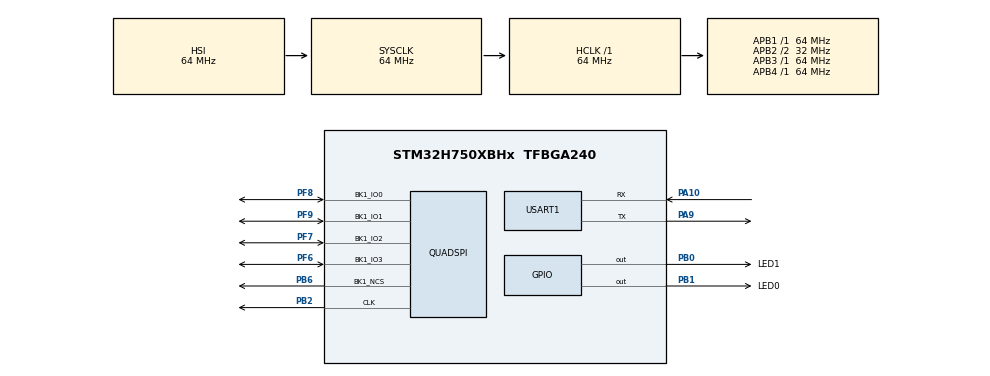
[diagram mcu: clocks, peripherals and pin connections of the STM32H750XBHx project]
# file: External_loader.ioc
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CORTEX_M7.default_mode_Activation=1
Mcu.Family=STM32H7
Mcu.Name=STM32H750XBHx
Mcu.Package=TFBGA240
NVIC.PriorityGroup=NVIC_PRIORITYGROUP_4
PA10.Mode=Asynchronous
PA10.Signal=USART1_RX
PA9.Mode=Asynchronous
PA9.Signal=USART1_TX
PB0.GPIO_Label=LED1
PB0.GPIO_Speed=GPIO_SPEED_FREQ_VERY_HIGH
PB0.PinState=GPIO_PIN_SET
PB0.Signal=GPIO_Output
PB1.GPIO_Label=LED0
PB1.GPIO_Speed=GPIO_SPEED_FREQ_VERY_HIGH
PB1.PinState=GPIO_PIN_SET
PB1.Signal=GPIO_Output
PB2.GPIO_PuPd=GPIO_PULLUP
PB2.GPIO_Speed=GPIO_SPEED_FREQ_VERY_HIGH
PB2.Mode=Single Bank 1
PB2.Signal=QUADSPI_CLK
PB6.GPIO_FM6=__NULL
PB6.GPIO_PuPd=GPIO_PULLUP
PB6.GPIO_Speed=GPIO_SPEED_FREQ_VERY_HIGH
PB6.Mode=Single Bank 1
PB6.Signal=QUADSPI_BK1_NCS
PF6.GPIO_PuPd=GPIO_PULLUP
PF6.GPIO_Speed=GPIO_SPEED_FREQ_VERY_HIGH
PF6.Mode=Single Bank 1
PF6.Signal=QUADSPI_BK1_IO3
PF7.GPIO_PuPd=GPIO_PULLUP
PF7.GPIO_Speed=GPIO_SPEED_FREQ_VERY_HIGH
PF7.Mode=Single Bank 1
PF7.Signal=QUADSPI_BK1_IO2
PF8.GPIO_PuPd=GPIO_PULLUP
PF8.GPIO_Speed=GPIO_SPEED_FREQ_VERY_HIGH
PF8.Mode=Single Bank 1
PF8.Signal=QUADSPI_BK1_IO0
PF9.GPIO_PuPd=GPIO_PULLUP
PF9.GPIO_Speed=GPIO_SPEED_FREQ_VERY_HIGH
PF9.Mode=Single Bank 1
PF9.Signal=QUADSPI_BK1_IO1
ProjectManager.HeapSize=0x200
ProjectManager.StackSize=0x400
ProjectManager.TargetToolchain=STM32CubeIDE
QUADSPI.ChipSelectHighTime=QSPI_CS_HIGH_TIME_1_CYCLE
QUADSPI.ClockPrescaler=0
QUADSPI.FifoThreshold=4
QUADSPI.FlashSize=22
QUADSPI.SampleShifting=QSPI_SAMPLE_SHIFTING_NONE
RCC.ADCFreq_Value=129000000
RCC.APB1Freq_Value=64000000
RCC.APB2Freq_Value=32000000
RCC.APB3Freq_Value=64000000
RCC.APB4Freq_Value=64000000
RCC.CortexFreq_Value=64000000
RCC.D2PPRE2=RCC_APB2_DIV2
RCC.HCLKFreq_Value=64000000
RCC.SYSCLKFreq_VALUE=64000000
RCC.USBFreq_Value=129000000
USART1.VirtualMode-Asynchronous=VM_ASYNC
VP_MEMORYMAP_VS_MEMORYMAP.Mode=CurAppReg
board=custom

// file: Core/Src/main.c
/* USER CODE BEGIN Header */
/**
  ******************************************************************************
  * @file           : main.c
  * @brief          : Main program body
  ******************************************************************************
  * @attention
  *
  * Copyright (c) 2026 STMicroelectronics.
  * All rights reserved.
  *
  * This software is licensed under terms that can be found in the LICENSE file
  * in the root directory of this software component.
  * If no LICENSE file comes with this software, it is provided AS-IS.
  *
  ******************************************************************************
  */
/* USER CODE END Header */
#include "main.h"
#include "quadspi.h"
#include "usart.h"
#include "gpio.h"

/* USER CODE BEGIN Includes */
#include <stdio.h>
/* USER CODE END Includes */

void SystemClock_Config(void);
static void MPU_Config(void);

/* USER CODE BEGIN 0 */
#if 0
#include <stdio.h>
#include <string.h>

/* 引入 QSPI 實例，CubeMX 生成的通常叫 hqspi */
extern QSPI_HandleTypeDef hqspi;

/* W25Q32 常用指令定義 */
#define W25Q_CMD_JEDEC_ID         0x9F
#define W25Q_CMD_WRITE_ENABLE     0x06
#define W25Q_CMD_READ_STATUS1     0x05
#define W25Q_CMD_SECTOR_ERASE     0x20
#define W25Q_CMD_PAGE_PROGRAM     0x02
#define W25Q_CMD_READ_DATA        0x03

/* --- 內部輔助函數：等待 Flash 就緒 --- */
static void W25Q_WaitReady(void)
{
    QSPI_CommandTypeDef sCommand = {0};
    QSPI_AutoPollingTypeDef sConfig = {0};

    sCommand.InstructionMode   = QSPI_INSTRUCTION_1_LINE;
    sCommand.Instruction       = W25Q_CMD_READ_STATUS1;
    sCommand.AddressMode       = QSPI_ADDRESS_NONE;
    sCommand.AlternateByteMode = QSPI_ALTERNATE_BYTES_NONE;
    sCommand.DataMode          = QSPI_DATA_1_LINE;
    sCommand.DummyCycles       = 0;
    sCommand.DdrMode           = QSPI_DDR_MODE_DISABLE;
    sCommand.DdrHoldHalfCycle  = QSPI_DDR_HHC_ANALOG_DELAY;
    sCommand.SIOOMode          = QSPI_SIOO_INST_EVERY_CMD;

    sConfig.Match           = 0x00;
    sConfig.Mask            = 0x01; /* WIP bit */
    sConfig.MatchMode       = QSPI_MATCH_MODE_AND;
    sConfig.StatusBytesSize = 1;
    sConfig.Interval        = 0x10;
    sConfig.AutomaticStop   = QSPI_AUTOMATIC_STOP_ENABLE;

    HAL_QSPI_AutoPolling(&hqspi, &sCommand, &sConfig, HAL_MAX_DELAY);
}

/* --- 內部輔助函數：啟用寫入 --- */
static void W25Q_WriteEnable(void)
{
    QSPI_CommandTypeDef sCommand = {0};

    sCommand.InstructionMode   = QSPI_INSTRUCTION_1_LINE;
    sCommand.Instruction       = W25Q_CMD_WRITE_ENABLE;
    sCommand.AddressMode       = QSPI_ADDRESS_NONE;
    sCommand.AlternateByteMode = QSPI_ALTERNATE_BYTES_NONE;
    sCommand.DataMode          = QSPI_DATA_NONE;
    sCommand.DummyCycles       = 0;
    sCommand.DdrMode           = QSPI_DDR_MODE_DISABLE;
    sCommand.DdrHoldHalfCycle  = QSPI_DDR_HHC_ANALOG_DELAY;
    sCommand.SIOOMode          = QSPI_SIOO_INST_EVERY_CMD;

    HAL_QSPI_Command(&hqspi, &sCommand, HAL_MAX_DELAY);
    W25Q_WaitReady(); /* 確保指令已被接受 */
}

/* --- 測試主程式 --- */
void W25Q_Test(void)
{
    QSPI_CommandTypeDef sCommand = {0};
    uint8_t id[3] = {0};
    uint8_t writeBuffer[256];
    uint8_t readBuffer[256];
    uint32_t testAddress = 0x00000000; /* 測試第 0 個 Sector */
    int i;

    printf("\r\n=== W25Q32 QSPI Test Start ===\r\n");

    /* 1. 讀取 JEDEC ID (驗證 SPI 通訊與硬體接線) */
    sCommand.InstructionMode   = QSPI_INSTRUCTION_1_LINE;
    sCommand.Instruction       = W25Q_CMD_JEDEC_ID;
    sCommand.AddressMode       = QSPI_ADDRESS_NONE;
    sCommand.AlternateByteMode = QSPI_ALTERNATE_BYTES_NONE;
    sCommand.DataMode          = QSPI_DATA_1_LINE;
    sCommand.DummyCycles       = 0;
    sCommand.NbData            = 3;
    sCommand.DdrMode           = QSPI_DDR_MODE_DISABLE;
    sCommand.DdrHoldHalfCycle  = QSPI_DDR_HHC_ANALOG_DELAY;
    sCommand.SIOOMode          = QSPI_SIOO_INST_EVERY_CMD;

    if (HAL_QSPI_Command(&hqspi, &sCommand, HAL_MAX_DELAY) == HAL_OK) {
        HAL_QSPI_Receive(&hqspi, id, HAL_MAX_DELAY);
        printf("1. Read ID: 0x%02X 0x%02X 0x%02X\r\n", id[0], id[1], id[2]);
        if (id[0] != 0xEF || id[1] != 0x40 || id[2] != 0x17) {
            printf("[ERROR] ID Mismatch! Check wiring or CubeMX QSPI settings.\r\n");
            return;
        }
    } else {
        printf("[ERROR] QSPI Command Failed!\r\n");
        return;
    }

    /* 2. 擦除測試 Sector (4KB) */
    printf("2. Erasing Sector 0...\r\n");
    W25Q_WriteEnable();
    sCommand.Instruction       = W25Q_CMD_SECTOR_ERASE;
    sCommand.AddressMode       = QSPI_ADDRESS_1_LINE;
    sCommand.AddressSize       = QSPI_ADDRESS_24_BITS;
    sCommand.Address           = testAddress;
    sCommand.DataMode          = QSPI_DATA_NONE;
    sCommand.NbData            = 0;
    HAL_QSPI_Command(&hqspi, &sCommand, HAL_MAX_DELAY);
    W25Q_WaitReady(); /* 擦除需要一點時間，這裡會卡住等它完成 */

    /* 3. 準備測試資料並寫入一頁 (256 Bytes) */
    printf("3. Writing 256 bytes to Page 0...\r\n");
    for (i = 0; i < 256; i++) {
        writeBuffer[i] = i; /* 寫入 0x00 ~ 0xFF */
    }

    W25Q_WriteEnable();
    sCommand.Instruction       = W25Q_CMD_PAGE_PROGRAM;
    sCommand.AddressMode       = QSPI_ADDRESS_1_LINE;
    sCommand.Address           = testAddress;
    sCommand.DataMode          = QSPI_DATA_1_LINE;
    sCommand.NbData            = 256;
    HAL_QSPI_Command(&hqspi, &sCommand, HAL_MAX_DELAY);
    HAL_QSPI_Transmit(&hqspi, writeBuffer, HAL_MAX_DELAY);
    W25Q_WaitReady();

    /* 4. 讀出資料並比對 */
    printf("4. Reading back data and verifying...\r\n");
    memset(readBuffer, 0, sizeof(readBuffer)); /* 清空讀取陣列 */

    sCommand.Instruction       = W25Q_CMD_READ_DATA;
    sCommand.AddressMode       = QSPI_ADDRESS_1_LINE;
    sCommand.Address           = testAddress;
    sCommand.DataMode          = QSPI_DATA_1_LINE;
    sCommand.NbData            = 256;
    HAL_QSPI_Command(&hqspi, &sCommand, HAL_MAX_DELAY);
    HAL_QSPI_Receive(&hqspi, readBuffer, HAL_MAX_DELAY);

    /* 比對陣列內容 */
    int errorCount = 0;
    for (i = 0; i < 256; i++) {
        if (writeBuffer[i] != readBuffer[i]) {
            errorCount++;
            if (errorCount <= 5) { /* 只印前幾個錯誤以免洗頻 */
                printf("   [FAIL] Byte %d: Wrote 0x%02X, Read 0x%02X\r\n", i, writeBuffer[i], readBuffer[i]);
            }
        }
    }

    if (errorCount == 0) {
        printf("=> [SUCCESS] All 256 bytes matched perfectly!\r\n");
        printf("=> Your hardware and basic QSPI driver are READY for the Loader.\r\n");
    } else {
        printf("=> [FAILED] Total %d bytes mismatch.\r\n", errorCount);
    }

    printf("=== Test End ===\r\n\r\n");
}
#endif

#if 0
int Safe_EnableMemoryMappedMode(void) {
    QSPI_CommandTypeDef sCommand = {0};
    QSPI_MemoryMappedTypeDef sMemMappedCfg = {0};

    sCommand.InstructionMode = QSPI_INSTRUCTION_1_LINE;
    sCommand.Instruction = 0x6B; /* W25Q64 Fast Read Quad Output */
    sCommand.AddressMode = QSPI_ADDRESS_1_LINE;
    sCommand.AddressSize = QSPI_ADDRESS_24_BITS;
    sCommand.AlternateByteMode = QSPI_ALTERNATE_BYTES_NONE;
    sCommand.DataMode = QSPI_DATA_4_LINES;
    sCommand.DummyCycles = 8; /* 絕對必須是 8 */
    sCommand.DdrMode = QSPI_DDR_MODE_DISABLE;
    sCommand.DdrHoldHalfCycle = QSPI_DDR_HHC_ANALOG_DELAY;
    sCommand.SIOOMode = QSPI_SIOO_INST_EVERY_CMD;

    sMemMappedCfg.TimeOutActivation = QSPI_TIMEOUT_COUNTER_DISABLE;

    if (HAL_QSPI_MemoryMapped(&hqspi, &sCommand, &sMemMappedCfg) != HAL_OK) {
        return HAL_ERROR;
    }
    return HAL_OK;
}

uint8_t write_buffer[256];

/* 3. 測試主程式 */
void Run_QSPI_App_Test(void) {
    uint32_t test_address = 0x00000000;
    uint32_t sector_end   = 0x00000FFF;
    uint32_t error_count  = 0;

    printf("\r\n========================================\r\n");
    printf("[QSPI TEST] Polaris SNOR Flash Test Start!\r\n");
    printf("========================================\r\n");

    printf("[1/5] Initializing QSPI and W25Q64... ");
    if (CSP_QUADSPI_Init() != HAL_OK) {
        printf("[FAIL]\r\n");
        return;
    }
    printf("[OK]\r\n");

    printf("[2/5] Erasing Sector 0... ");
    if (CSP_QSPI_EraseSector(test_address, sector_end) != HAL_OK) {
        printf("[FAIL]\r\n");
        return;
    }
    printf("[OK]\r\n");

    printf("[3/5] Writing 256 bytes to Page 0... ");
    for (int i = 0; i < 256; i++) {
        write_buffer[i] = (uint8_t)(i & 0xFF);
    }

    if (CSP_QSPI_WriteMemory(write_buffer, test_address, 256) != HAL_OK) {
        printf("[FAIL]\r\n");
        return;
    }
    printf("[OK]\r\n");

    /* 🌟 解鎖 MPU */
    //MPU_Config_QSPI();

    printf("[4/5] Enabling Memory Mapped Mode... ");
    if (Safe_EnableMemoryMappedMode() != HAL_OK) {
        printf("[FAIL]\r\n");
        return;
    }
    printf("[OK]\r\n");

    /* 加入一點延遲，確保 printf 送出 UART 緩衝區 */
    HAL_Delay(10);

    printf("[5/5] Verifying data via memory map (0x90000000)... \r\n");
    uint8_t *mapped_flash_ptr = (uint8_t *)(0x90000000 + test_address);

    for (int i = 0; i < 256; i++) {
        if (mapped_flash_ptr[i] != write_buffer[i]) {
            if (error_count < 5) {
                printf("      [FAIL] Mismatch at offset %d: Wrote 0x%02X, Read 0x%02X\r\n",
                       i, write_buffer[i], mapped_flash_ptr[i]);
            }
            error_count++;
        }
    }

    if (error_count > 0) {
        printf("[FAIL] VERIFY FAILED! Total errors: %lu / 256\r\n", error_count);
    } else {
        printf("[DONE] ALL PASSED! The QSPI driver is 100%% PERFECT!\r\n");
    }

    printf("========================================\r\n\r\n");
}
#endif

#if 0
extern QSPI_HandleTypeDef hqspi;
uint8_t test_write_buffer[256];

/* * 模擬 Loader 行為的完整驗證測試
 */
void Polaris_Loader_Standalone_Test(void)
{
    uint32_t test_address = 0x00000000;
    uint32_t sector_end   = 0x00000FFF;
    uint32_t error_count  = 0;
    int i;

    printf("\r\n==============================================\r\n");
    printf("[POLARIS QSPI TEST] Standalone Verification\r\n");
    printf("==============================================\r\n");

    /* 1. 測試初始化 (Init) */
    printf("[1/5] CSP_QUADSPI_Init()... ");
    if (CSP_QUADSPI_Init() != HAL_OK) {
        printf("[FAIL] Hardware or SPI communication error.\r\n");
        return;
    }
    printf("[OK]\r\n");

    /* 2. 測試擦除 (SectorErase) */
    printf("[2/5] CSP_QSPI_EraseSector()... ");
    /* 這裡如果卡死或瞬間失敗，就是硬體供電或 WIP Polling 的問題 */
    if (CSP_QSPI_EraseSector(test_address, sector_end) != HAL_OK) {
        printf("[FAIL] Erase command rejected or timeout.\r\n");
        return;
    }
    printf("[OK]\r\n");

    /* 3. 準備測資並測試寫入 (Write) */
    printf("[3/5] CSP_QSPI_WriteMemory()... ");
    for (i = 0; i < 256; i++) {
        test_write_buffer[i] = (uint8_t)(i & 0xFF); // 0x00 ~ 0xFF
    }
    if (CSP_QSPI_WriteMemory(test_write_buffer, test_address, 256) != HAL_OK) {
        printf("[FAIL] Write command rejected.\r\n");
        return;
    }
    printf("[OK]\r\n");

    /* 4. 測試切換至記憶體映射模式 (EnableMemoryMappedMode) */
    printf("[4/5] CSP_QSPI_EnableMemoryMappedMode()... ");
    if (CSP_QSPI_EnableMemoryMappedMode() != HAL_OK) {
        printf("[FAIL] Failed to enter QSPI 4-line mapped mode.\r\n");
        return;
    }
    printf("[OK]\r\n");

    /* 5. 透過 AHB 匯流排直接讀取驗證 (Verify) */
    printf("[5/5] Verifying Memory via AHB (0x90000000)... \r\n");

    /* 使用 volatile 確保每次都從真實物理位址讀取，不受編譯器最佳化影響 */
    volatile uint8_t *mapped_flash_ptr = (volatile uint8_t *)(0x90000000 + test_address);

    /* 為了避免 UART 卡死，我們先延遲一下讓前面的 printf 送完 */
    HAL_Delay(10);

    for (i = 0; i < 256; i++) {
        uint8_t read_val = mapped_flash_ptr[i];
        if (read_val != test_write_buffer[i]) {
            if (error_count < 5) {
                printf("      [FAIL] Offset %d: Wrote 0x%02X, Read 0x%02X\r\n",
                       i, test_write_buffer[i], read_val);
            }
            error_count++;
        }
    }

    if (error_count > 0) {
        printf("=> [FAIL] Data verification failed! Total errors: %lu / 256\r\n", error_count);
        printf("=> Possible cause: Dummy cycles mismatch, IO2/IO3 wiring, or Cache issue.\r\n");
    } else {
        printf("=> [SUCCESS] All 256 bytes verified perfectly!\r\n");
        printf("=> The quadspi.c driver is 100%% ready for the Loader.\r\n");
    }

    printf("==============================================\r\n\r\n");
}
#endif

#if 0
/* External Loader and QSPI API declarations */
extern int Init(void);
extern int SectorErase(uint32_t EraseStartAddress, uint32_t EraseEndAddress);
extern int Write(uint32_t Address, uint32_t Size, uint8_t *buffer);
extern uint8_t CSP_QSPI_EnableMemoryMappedMode(void);

#define FLASH_SIZE_8MB 0x00800000  /* 8MB = 8 * 1024 * 1024 */
#define CHUNK_SIZE     4096        /* 4KB chunk size */

uint8_t chunk_buffer[CHUNK_SIZE];

void Test_Loader_API_8MB_Full(void)
{
    uint32_t offset;
    int i;
    uint32_t error_count = 0;

    printf("\r\n=== 8MB Full QSPI Flash Stress Test ===\r\n");

    /* 1. Init phase */
    printf("[1/4] Init()... ");
    fflush(stdout);
    if (Init() != 1) {
        printf("FAIL\r\n");
        return;
    }
    printf("OK\r\n");

    /* 2. Erase the entire 8MB */
    printf("[2/4] Erasing full 8MB...\r\n");
    printf("      (This will take ~20-40 seconds, please wait)\r\n");
    fflush(stdout);

    if (SectorErase(0x00000000, FLASH_SIZE_8MB - 1) != 1) {
        printf("=> [FAIL] Erase Error!\r\n");
        return;
    }
    printf("      => Erase 8MB OK!\r\n");

    /* 3. Write 8MB */
    printf("[3/4] Writing 8MB Data...\r\n");
    fflush(stdout);

    for (offset = 0; offset < FLASH_SIZE_8MB; offset += CHUNK_SIZE) {
        /* Generate address-dependent test data to detect address mirroring issues */
        for (i = 0; i < CHUNK_SIZE; i++) {
            chunk_buffer[i] = (uint8_t)((offset + i) & 0xFF);
        }

        if (Write(offset, CHUNK_SIZE, chunk_buffer) != 1) {
            printf("\r\n=> [FAIL] Write Error at offset 0x%08lX\r\n", offset);
            return;
        }

        /* Print progress every 1MB */
        if (offset > 0 && (offset % (1024 * 1024)) == 0) {
            printf("      ... %lu MB written\r\n", offset / (1024 * 1024));
            fflush(stdout);
        }
    }
    printf("      => Write 8MB OK!\r\n");

    /* 4. Verify 8MB using Memory Mapped Mode */
    printf("[4/4] Verifying 8MB via AHB (0x90000000)...\r\n");
    fflush(stdout);

    /* Enable Memory Mapped Mode */
    if (CSP_QSPI_EnableMemoryMappedMode() != HAL_OK) {
        printf("=> [FAIL] Enable Memory Mapped Mode Error!\r\n");
        return;
    }

    HAL_Delay(10);

    volatile uint8_t *mapped_ptr = (volatile uint8_t *)0x90000000;

    for (offset = 0; offset < FLASH_SIZE_8MB; offset++) {
        uint8_t expected = (uint8_t)(offset & 0xFF);
        uint8_t read_val = mapped_ptr[offset];

        if (read_val != expected) {
            if (error_count < 10) { /* Print only the first 10 errors to avoid console flood */
                printf("      [FAIL] at 0x%08lX: expected 0x%02X, got 0x%02X\r\n",
                       offset, expected, read_val);
            }
            error_count++;
        }

        /* Print progress every 1MB */
        if (offset > 0 && (offset % (1024 * 1024)) == 0) {
            printf("      ... %lu MB verified\r\n", offset / (1024 * 1024));
            fflush(stdout);
        }
    }

    /* Summary */
    if (error_count > 0) {
        printf("\r\n=> [FAIL] Verify failed! Total errors: %lu bytes\r\n", error_count);
    } else {
        printf("\r\n=> [SUCCESS] 8MB perfectly completely verified!\r\n");
        printf("=> Congratulations! Your Polaris External Loader is 100%% READY!\r\n");
    }
    printf("=======================================================\r\n\r\n");
}
#endif

#if 0
#define TEST_FLASH_SIZE 0x00800000 /* 8MB */
#define CHUNK_SIZE      4096       /* 4KB */

uint8_t write_buf[CHUNK_SIZE];
uint8_t read_buf[CHUNK_SIZE];

void Test_Direct_ReadWrite_8MB(void)
{
    uint32_t offset;
    uint32_t error_count = 0;

    printf("\r\n=== Direct SPI Command Read/Write Test (8MB) ===\r\n");

    /* 1. 直接呼叫 QSPI 初始化 (繞過 Loader_Src.c 的 Init) */
    printf("[1/3] Resetting Chip... ");
    if (CSP_QUADSPI_Init() != HAL_OK) { printf("FAIL\r\n"); return; }
    printf("OK\r\n");

    /* 2. 擦除測試 (先測前 1MB 即可，省時間) */
    uint32_t test_limit = 1024 * 1024; /* 1MB test */
    printf("[2/3] Erasing & Writing %lu MB...\r\n", test_limit / (1024*1024));

    for (offset = 0; offset < test_limit; offset += CHUNK_SIZE) {
        /* Erase Sector */
        if (CSP_QSPI_EraseSector(offset, offset + CHUNK_SIZE - 1) != HAL_OK) {
            printf("      Erase FAIL at 0x%08lX\r\n", offset);
            return;
        }

        /* Prepare Data */
        for (int i = 0; i < CHUNK_SIZE; i++) {
            write_buf[i] = (uint8_t)((offset + i) & 0xFF);
        }

        /* Write Data */
        if (CSP_QSPI_WriteMemory(write_buf, offset, CHUNK_SIZE) != HAL_OK) {
            printf("      Write FAIL at 0x%08lX\r\n", offset);
            return;
        }

        if (offset > 0 && offset % (256 * 1024) == 0) printf("      ... %lu KB done\r\n", offset / 1024);
    }
    printf("      => Write OK!\r\n");

    /* 3. 直接指令讀取比對 */
    printf("[3/3] Direct Read (Instruction 0x03) & Verifying...\r\n");

    for (offset = 0; offset < test_limit; offset += CHUNK_SIZE) {
        if (CSP_QSPI_ReadMemory(read_buf, offset, CHUNK_SIZE) != HAL_OK) {
            printf("      Read FAIL at 0x%08lX\r\n", offset);
            return;
        }

        for (int i = 0; i < CHUNK_SIZE; i++) {
            uint8_t expected = (uint8_t)((offset + i) & 0xFF);
            if (read_buf[i] != expected) {
                if (error_count < 5) {
                    printf("      [Data Error] at 0x%08lX: Expected 0x%02X, Got 0x%02X\r\n",
                           offset + i, expected, read_buf[i]);
                }
                error_count++;
            }
        }
    }

    if (error_count == 0) {
        printf("=> [SUCCESS] Direct Command Read/Write PASSED!\r\n");
    } else {
        printf("=> [FAIL] Total Errors: %lu bytes\r\n", error_count);
    }
}

/* Define test parameters */
#define TEST_ADDR        0x00000000  /* Test starting at the beginning of Flash */
#define TEST_SIZE        4096        /* 4KB (Standard Sector size) */
#define TEST_PATTERN_XOR 0x5A        /* Pattern to make data unique */

/* Buffers for read/write operations */
uint8_t write_buffer[TEST_SIZE];
uint8_t read_buffer[TEST_SIZE];

/**
 * @brief  Rigorous 4KB Read/Write/Verify Test
 * @retval 1 if success, 0 if failure
 */
int Test_Flash_4KB_Sector(void)
{
    uint32_t i;
    uint32_t error_count = 0;

    printf("\r\n--- Starting 4KB Sector Stress Test ---\r\n");

    /* 1. Initialization */
    printf("[1/5] Initializing QSPI... ");
    if (CSP_QUADSPI_Init() != HAL_OK) {
        printf("FAILED\r\n");
        return 0;
    }
    printf("OK\r\n");

    /* 2. Erase Sector */
    printf("[2/5] Erasing 4KB Sector at 0x%08X... ", (unsigned int)TEST_ADDR);
    if (CSP_QSPI_EraseSector(TEST_ADDR, TEST_ADDR + TEST_SIZE - 1) != HAL_OK) {
        printf("FAILED\r\n");
        return 0;
    }
    printf("OK\r\n");

    /* 3. Prepare Buffer with Dynamic Pattern */
    /* We use (index ^ pattern) to ensure data is not just a simple sequence */
    for (i = 0; i < TEST_SIZE; i++) {
        write_buffer[i] = (uint8_t)((i & 0xFF) ^ TEST_PATTERN_XOR);
    }

    /* 4. Write Data (Involves 16 Pages for W25Q64) */
    printf("[3/5] Writing 4KB Data... ");
    if (CSP_QSPI_WriteMemory(write_buffer, TEST_ADDR, TEST_SIZE) != HAL_OK) {
        printf("FAILED\r\n");
        return 0;
    }
    printf("OK\r\n");

    /* 5. Read Back and Verify */
    printf("[4/5] Reading back for verification... ");
    /* Using Indirect Read to bypass any Cache/AHB issues for now */
    if (CSP_QSPI_ReadMemory(read_buffer, TEST_ADDR, TEST_SIZE) != HAL_OK) {
        printf("FAILED (Read error)\r\n");
        return 0;
    }
    printf("OK\r\n");

    /* 6. Byte-by-Byte Comparison */
    printf("[5/5] Comparing data... \r\n");
    for (i = 0; i < TEST_SIZE; i++) {
        if (read_buffer[i] != write_buffer[i]) {
            if (error_count < 10) { /* Show first 10 errors */
                printf("      Mismatch at 0x%08X: Exp 0x%02X, Got 0x%02X\r\n",
                       (unsigned int)(TEST_ADDR + i), write_buffer[i], read_buffer[i]);
            }
            error_count++;
        }
    }

    /* Final Result */
    if (error_count == 0) {
        printf(">>> [SUCCESS] 4KB Sector Verified Perfectly! <<<\r\n");
        return 1;
    } else {
        printf(">>> [FAILURE] Total Errors: %lu bytes <<<\r\n", error_count);
        uint8_t dump[16];
		printf("\r\n--- Diagnostic Dump ---\r\n");

		CSP_QSPI_ReadMemory(dump, 0x00, 16);
		printf("Page 0 (Start): ");
		for(int i=0; i<16; i++) printf("%02X ", dump[i]);

		printf("\r\nPage 1 (Start): ");
		CSP_QSPI_ReadMemory(dump, 0x100, 16);
		for(int i=0; i<16; i++) printf("%02X ", dump[i]);
		printf("\r\n-----------------------\r\n");
        return 0;
    }
}
#endif
/* USER CODE END 0 */

int main(void)
{

  /* MPU Configuration--------------------------------------------------------*/
  MPU_Config();

  /* MCU Configuration--------------------------------------------------------*/

  /* Reset of all peripherals, Initializes the Flash interface and the Systick. */
  HAL_Init();

  /* Configure the system clock */
  SystemClock_Config();

  /* Initialize all configured peripherals */
  MX_GPIO_Init();
  MX_QUADSPI_Init();
  MX_USART1_UART_Init();
  /* USER CODE BEGIN 2 */
  //printf("Start! \r\n");
  //Run_QSPI_App_Test();
  //Polaris_Loader_Standalone_Test();
  //Test_Loader_API_8MB_Full();
  //Test_Direct_ReadWrite_8MB();
  //Test_Flash_4KB_Sector();

  /* USER CODE END 2 */

  /* Infinite loop */
  while (1)
  {

  }
}

void SystemClock_Config(void)
{
  RCC_OscInitTypeDef RCC_OscInitStruct = {0};
  RCC_ClkInitTypeDef RCC_ClkInitStruct = {0};

  /** Supply configuration update enable
  */
  HAL_PWREx_ConfigSupply(PWR_LDO_SUPPLY);

  /** Configure the main internal regulator output voltage
  */
  __HAL_PWR_VOLTAGESCALING_CONFIG(PWR_REGULATOR_VOLTAGE_SCALE3);

  while(!__HAL_PWR_GET_FLAG(PWR_FLAG_VOSRDY)) {}

  /** Initializes the RCC Oscillators according to the specified parameters
  * in the RCC_OscInitTypeDef structure.
  */
  RCC_OscInitStruct.OscillatorType = RCC_OSCILLATORTYPE_HSI;
  RCC_OscInitStruct.HSIState = RCC_HSI_DIV1;
  RCC_OscInitStruct.HSICalibrationValue = RCC_HSICALIBRATION_DEFAULT;
  RCC_OscInitStruct.PLL.PLLState = RCC_PLL_NONE;
  if (HAL_RCC_OscConfig(&RCC_OscInitStruct) != HAL_OK)
  {
    Error_Handler();
  }

  /** Initializes the CPU, AHB and APB buses clocks
  */
  RCC_ClkInitStruct.ClockType = RCC_CLOCKTYPE_HCLK|RCC_CLOCKTYPE_SYSCLK
                              |RCC_CLOCKTYPE_PCLK1|RCC_CLOCKTYPE_PCLK2
                              |RCC_CLOCKTYPE_D3PCLK1|RCC_CLOCKTYPE_D1PCLK1;
  RCC_ClkInitStruct.SYSCLKSource = RCC_SYSCLKSOURCE_HSI;
  RCC_ClkInitStruct.SYSCLKDivider = RCC_SYSCLK_DIV1;
  RCC_ClkInitStruct.AHBCLKDivider = RCC_HCLK_DIV1;
  RCC_ClkInitStruct.APB3CLKDivider = RCC_APB3_DIV1;
  RCC_ClkInitStruct.APB1CLKDivider = RCC_APB1_DIV1;
  RCC_ClkInitStruct.APB2CLKDivider = RCC_APB2_DIV2;
  RCC_ClkInitStruct.APB4CLKDivider = RCC_APB4_DIV1;

  if (HAL_RCC_ClockConfig(&RCC_ClkInitStruct, FLASH_LATENCY_1) != HAL_OK)
  {
    Error_Handler();
  }
}

/* USER CODE BEGIN 4 */
#if 0
/* Retarget standard output (printf) to UART */
int _write(int file, char *ptr, int len)
{
    /* * Send the string via USART1.
     * Note: Change 'huart1' to your specific UART handle if different.
     */
    HAL_UART_Transmit(&huart1, (uint8_t *)ptr, len, HAL_MAX_DELAY);

    return len;
}
#endif
/* USER CODE END 4 */

 /* MPU Configuration */

void MPU_Config(void)
{
  MPU_Region_InitTypeDef MPU_InitStruct = {0};

  /* Disables the MPU */
  HAL_MPU_Disable();

  /** Initializes and configures the Region and the memory to be protected
  */
  MPU_InitStruct.Enable = MPU_REGION_ENABLE;
  MPU_InitStruct.Number = MPU_REGION_NUMBER0;
  MPU_InitStruct.BaseAddress = 0x0;
  MPU_InitStruct.Size = MPU_REGION_SIZE_4GB;
  MPU_InitStruct.SubRegionDisable = 0x87;
  MPU_InitStruct.TypeExtField = MPU_TEX_LEVEL0;
  MPU_InitStruct.AccessPermission = MPU_REGION_NO_ACCESS;
  MPU_InitStruct.DisableExec = MPU_INSTRUCTION_ACCESS_DISABLE;
  MPU_InitStruct.IsShareable = MPU_ACCESS_SHAREABLE;
  MPU_InitStruct.IsCacheable = MPU_ACCESS_NOT_CACHEABLE;
  MPU_InitStruct.IsBufferable = MPU_ACCESS_NOT_BUFFERABLE;

  HAL_MPU_ConfigRegion(&MPU_InitStruct);
  /* Enables the MPU */
  HAL_MPU_Enable(MPU_PRIVILEGED_DEFAULT);

}

void Error_Handler(void)
{
  __disable_irq();
  while (1)
  {
  }
}
